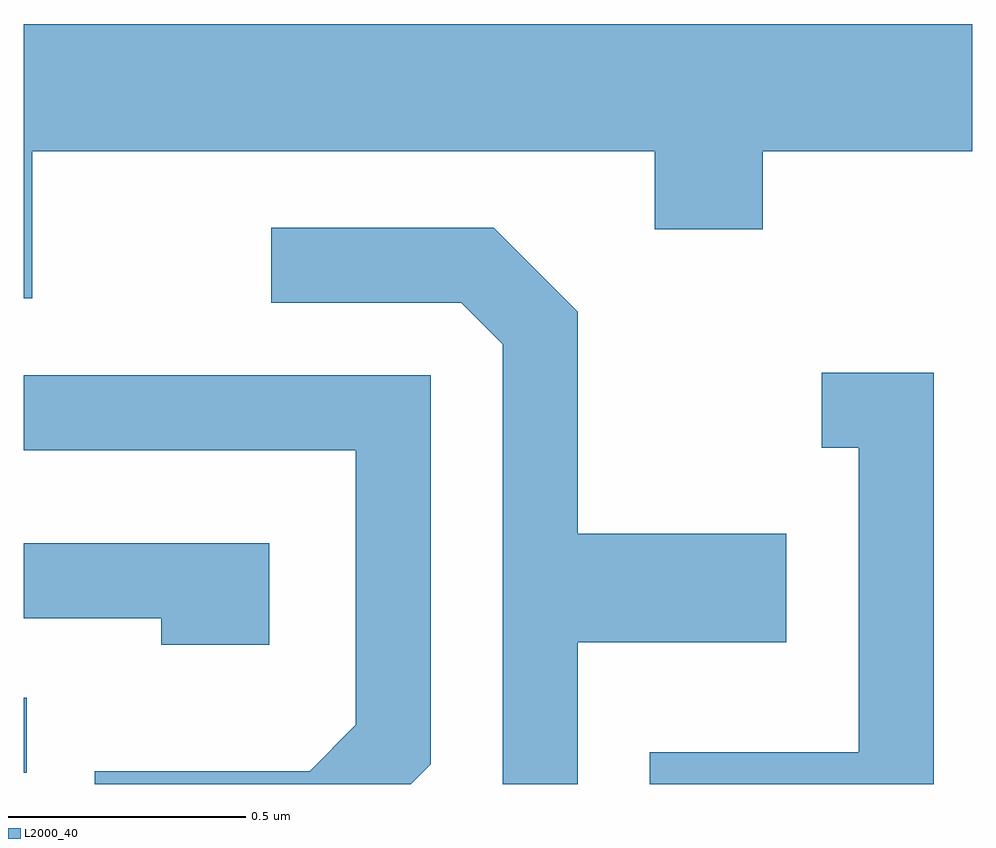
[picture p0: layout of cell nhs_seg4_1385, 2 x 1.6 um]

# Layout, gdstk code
import gdstk
lib = gdstk.Library(unit=1e-6, precision=1e-09)
def R(c, l, rs):  # rectangles x0, y0, x1, y1
    for r in rs: c.add(gdstk.rectangle(r[:2], r[2:], *l))
def P(c, l, *ps):  # polygons
    for p in ps: c.add(gdstk.Polygon(p, *l))
L2000_40 = (2000, 40)

nhs_seg4_1385 = lib.new_cell('nhs_seg4_1385')
R(nhs_seg4_1385, L2000_40, [(195.611,1269.006,195.618,1269.164)])
P(nhs_seg4_1385, L2000_40, [(195.629,1270.316),(196.941,1270.316),(196.941,1270.151),(197.169,1270.151),(197.169,1270.316),(197.611,1270.316),(197.611,1270.584),(195.611,1270.584),(195.611,1270.006),(195.629,1270.006)],
  [(196.779,1269.281),(197.219,1269.281),(197.219,1269.509),(196.779,1269.509),(196.779,1269.977),(196.602,1270.154),(196.133,1270.154),(196.133,1269.996),(196.534,1269.996),(196.621,1269.909),(196.621,1268.982),(196.779,1268.982)],
  [(197.529,1269.849),(197.293,1269.849),(197.293,1269.691),(197.371,1269.691),(197.371,1269.049),(196.931,1269.049),(196.931,1268.982),(197.529,1268.982)],
  [(196.469,1269.024),(196.469,1269.844),(195.611,1269.844),(195.611,1269.686),(196.311,1269.686),(196.311,1269.107),(196.214,1269.009),(195.761,1269.009),(195.761,1268.982),(196.427,1268.982)],
  [(196.129,1269.489),(195.611,1269.489),(195.611,1269.331),(195.901,1269.331),(195.901,1269.276),(196.129,1269.276)])

lib.write_gds('nhs_seg4_1385.gds')
